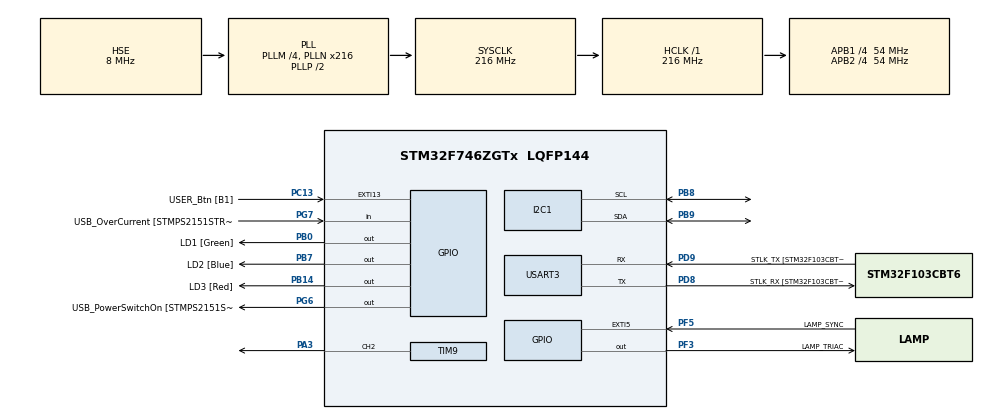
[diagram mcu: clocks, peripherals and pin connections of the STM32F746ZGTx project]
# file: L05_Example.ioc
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I2C1.Timing=0x20404768
Mcu.Family=STM32F7
Mcu.Name=STM32F746ZGTx
Mcu.Package=LQFP144
NVIC.EXTI9_5_IRQn=true\:0\:0\:false\:false\:true\:true\:true\:true
NVIC.PriorityGroup=NVIC_PRIORITYGROUP_4
NVIC.TIM1_TRG_COM_TIM11_IRQn=true\:0\:0\:false\:false\:true\:true\:true\:true
NVIC.TIM7_IRQn=true\:0\:0\:false\:false\:true\:true\:true\:true
PA1.GPIO_Label=RMII_REF_CLK [LAN8742A-CZ-TR_REFCLK0]
PA1.Signal=ETH_REF_CLK
PA10.GPIO_Label=USB_ID
PA10.Signal=USB_OTG_FS_ID
PA11.GPIO_Label=USB_DM
PA11.Signal=USB_OTG_FS_DM
PA12.GPIO_Label=USB_DP
PA12.Signal=USB_OTG_FS_DP
PA13.GPIO_Label=TMS
PA13.Mode=Serial_Wire
PA13.Signal=SYS_JTMS-SWDIO
PA14.GPIO_Label=TCK
PA14.Mode=Serial_Wire
PA14.Signal=SYS_JTCK-SWCLK
PA2.GPIO_Label=RMII_MDIO [LAN8742A-CZ-TR_MDIO]
PA2.Signal=ETH_MDIO
PA3.GPIO_PuPd=GPIO_PULLDOWN
PA3.Signal=S_TIM9_CH2
PA7.GPIO_Label=RMII_CRS_DV [LAN8742A-CZ-TR_CRS_DV]
PA7.Signal=ETH_CRS_DV
PA8.GPIO_Label=USB_SOF [TP1]
PA8.Signal=USB_OTG_FS_SOF
PA9.GPIO_Label=USB_VBUS
PA9.Signal=USB_OTG_FS_VBUS
PB0.GPIO_Label=LD1 [Green]
PB0.Signal=GPIO_Output
PB13.GPIO_Label=RMII_TXD1 [LAN8742A-CZ-TR_TXD1]
PB13.Signal=ETH_TXD1
PB14.GPIO_Label=LD3 [Red]
PB14.Signal=GPIO_Output
PB3.GPIO_Label=SW0
PB3.Signal=SYS_JTDO-SWO
PB7.GPIO_Label=LD2 [Blue]
PB7.Signal=GPIO_Output
PB8.Mode=I2C
PB8.Signal=I2C1_SCL
PB9.Mode=I2C
PB9.Signal=I2C1_SDA
PC1.GPIO_Label=RMII_MDC [LAN8742A-CZ-TR_MDC]
PC1.Signal=ETH_MDC
PC13.GPIO_Label=USER_Btn [B1]
PC13.Signal=GPXTI13
PC14/OSC32_IN.Mode=LSE-External-Oscillator
PC14/OSC32_IN.Signal=RCC_OSC32_IN
PC15/OSC32_OUT.Mode=LSE-External-Oscillator
PC15/OSC32_OUT.Signal=RCC_OSC32_OUT
PC4.GPIO_Label=RMII_RXD0 [LAN8742A-CZ-TR_RXD0]
PC4.Signal=ETH_RXD0
PC5.GPIO_Label=RMII_RXD1 [LAN8742A-CZ-TR_RXD1]
PC5.Signal=ETH_RXD1
PD8.GPIO_Label=STLK_RX [STM32F103CBT6_PA3]
PD8.GPIO_PuPd=GPIO_PULLUP
PD8.Mode=Asynchronous
PD8.Signal=USART3_TX
PD9.GPIO_Label=STLK_TX [STM32F103CBT6_PA2]
PD9.GPIO_PuPd=GPIO_PULLUP
PD9.Mode=Asynchronous
PD9.Signal=USART3_RX
PF3.GPIO_Label=LAMP_TRIAC
PF3.Signal=GPIO_Output
PF5.GPIO_Label=LAMP_SYNC
PF5.Signal=GPXTI5
PG11.GPIO_Label=RMII_TX_EN [LAN8742A-CZ-TR_TXEN]
PG11.Signal=ETH_TX_EN
PG13.GPIO_Label=RMII_TXD0 [LAN8742A-CZ-TR_TXD0]
PG13.Signal=ETH_TXD0
PG6.GPIO_Label=USB_PowerSwitchOn [STMPS2151STR_EN]
PG6.Signal=GPIO_Output
PG7.GPIO_Label=USB_OverCurrent [STMPS2151STR_FAULT]
PG7.Signal=GPIO_Input
PH0/OSC_IN.GPIO_Label=MCO [STM32F103CBT6_PA8]
PH0/OSC_IN.Mode=HSE-External-Clock-Source
PH0/OSC_IN.Signal=RCC_OSC_IN
PH1/OSC_OUT.Mode=HSE-External-Clock-Source
PH1/OSC_OUT.Signal=RCC_OSC_OUT
ProjectManager.HeapSize=0x200
ProjectManager.StackSize=0x400
ProjectManager.TargetToolchain=STM32CubeIDE
RCC.48MHZClocksFreq_Value=24000000
RCC.AHBFreq_Value=216000000
RCC.APB1CLKDivider=RCC_HCLK_DIV4
RCC.APB1Freq_Value=54000000
RCC.APB1TimFreq_Value=108000000
RCC.APB2CLKDivider=RCC_HCLK_DIV4
RCC.APB2Freq_Value=54000000
RCC.APB2TimFreq_Value=108000000
RCC.CortexFreq_Value=216000000
RCC.HCLKFreq_Value=216000000
RCC.HSE_VALUE=8000000
RCC.HSI_VALUE=16000000
RCC.PLLM=4
RCC.PLLMUL=RCC_PLL_MUL9
RCC.PLLN=216
RCC.PLLQ=3
RCC.PLLSourceVirtual=RCC_PLLSOURCE_HSE
RCC.PRESCALERUSB=RCC_USBCLKSOURCE_PLL_DIV1_5
RCC.SYSCLKFreq_VALUE=216000000
RCC.SYSCLKSource=RCC_SYSCLKSOURCE_PLLCLK
RCC.SYSCLKSourceVirtual=RCC_SYSCLKSOURCE_PLLCLK
RCC.USBFreq_Value=144000000
RCC.VCOOutputFreq_Value=432000000
SH.S_TIM9_CH2.0=TIM9_CH2,PWM Generation2 CH2
TIM11.Period=100-1
TIM11.Prescaler=108-1
TIM7.Period=5000-1
TIM7.Prescaler=108-1
TIM9.Channel-PWM\ Generation2\ CH2=TIM_CHANNEL_2
TIM9.Period=1000-1
TIM9.Prescaler=108-1
USART3.VirtualMode-Asynchronous=VM_ASYNC
VP_TIM11_VS_ClockSourceINT.Mode=Enable_Timer
VP_TIM7_VS_ClockSourceINT.Mode=Enable_Timer
VP_TIM9_VS_ClockSourceINT.Mode=Internal
board=NUCLEO-F746ZG

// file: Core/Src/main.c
/* USER CODE BEGIN Header */
/**
  ******************************************************************************
  * @file           : main.c
  * @brief          : Main program body
  ******************************************************************************
  * @attention
  *
  * Copyright (c) 2024 STMicroelectronics.
  * All rights reserved.
  *
  * This software is licensed under terms that can be found in the LICENSE file
  * in the root directory of this software component.
  * If no LICENSE file comes with this software, it is provided AS-IS.
  *
  ******************************************************************************
  */
#define TASK 5
/* USER CODE END Header */
#include "main.h"
#include "i2c.h"
#include "tim.h"
#include "usart.h"
#include "gpio.h"

/* USER CODE BEGIN Includes */
#if TASK == 3
#include "bh1750_config.h"
#endif
#if TASK == 4
#include <stdio.h>
#include "bh1750_config.h"
#endif
#if TASK == 5
#include <stdio.h>
#include "led_config.h"
#include "bh1750_config.h"
#endif
#if TASK == 7
#include <stdio.h>
#include "lamp_config.h"
#include "bh1750_config.h"
#endif
/* USER CODE END Includes */

/* USER CODE BEGIN PV */
#if TASK == 3
int illuminance_mlx = 0;
#endif
#if TASK == 4
int illuminance_mlx = 0;
#endif
#if TASK == 5
int duty_cycle;
int illuminance_mlx = 0;
#endif
#if TASK == 7
int input_value;
int illuminance_mlx = 0;
#endif
/* USER CODE END PV */

void SystemClock_Config(void);

/* USER CODE BEGIN 0 */
#if TASK == 4
int _write(int file, char *ptr, int len)
{
  return (HAL_UART_Transmit(&huart3, (uint8_t*)ptr, len, HAL_MAX_DELAY) == HAL_OK) ? len : -1;
}
#endif
#if TASK == 5
int _write(int file, char *ptr, int len)
{
  return (HAL_UART_Transmit(&huart3, (uint8_t*)ptr, len, HAL_MAX_DELAY) == HAL_OK) ? len : -1;
}

int _read(int file, char *ptr, int len)
{
  int msg_len = 0;
  while(msg_len <= len)
  {
    if(HAL_UART_Receive(&huart3, (uint8_t*)&ptr[msg_len], 1, HAL_MAX_DELAY) == HAL_OK)
    {
      msg_len++;
      if(ptr[msg_len-1] == '\r')
        break;
    }
  }
  return msg_len;
}
#endif
#if TASK == 7
int _write(int file, char *ptr, int len)
{
  return (HAL_UART_Transmit(&huart3, (uint8_t*)ptr, len, HAL_MAX_DELAY) == HAL_OK) ? len : -1;
}

int _read(int file, char *ptr, int len)
{
  int msg_len = 0;
  while(msg_len <= len)
  {
    if(HAL_UART_Receive(&huart3, (uint8_t*)&ptr[msg_len], 1, HAL_MAX_DELAY) == HAL_OK)
    {
      msg_len++;
      if(ptr[msg_len-1] == '\r')
        break;
    }
  }
  return msg_len;
}

/**
  * @brief  EXTI line detection callbacks.
  * @param  GPIO_Pin Specifies the pins connected EXTI line
  * @retval None
  */
void HAL_GPIO_EXTI_Callback(uint16_t GPIO_Pin)
{
  if(GPIO_Pin == hlamp1.SYNC_Pin)
  {
    LAMP_StartFiringAngleTimer(&hlamp1);
  }
}
/**
  * @brief  Period elapsed callback in non-blocking mode
  * @param  htim TIM handle
  * @retval None
  */
void HAL_TIM_PeriodElapsedCallback(TIM_HandleTypeDef *htim)
{
  if(htim == hlamp1.FiringAngleTimer)
  {
    LAMP_StopFiringAngleTimer(&hlamp1);
    LAMP_StartPulseTimer(&hlamp1);
  }
  if(htim == hlamp1.PulseTimer)
  {
    LAMP_StopPulseTimer(&hlamp1);
  }
}
#endif
/* USER CODE END 0 */

int main(void)
{

  /* MCU Configuration--------------------------------------------------------*/

  /* Reset of all peripherals, Initializes the Flash interface and the Systick. */
  HAL_Init();

  /* Configure the system clock */
  SystemClock_Config();

  /* Initialize all configured peripherals */
  MX_GPIO_Init();
  MX_USART3_UART_Init();
  MX_I2C1_Init();
  MX_TIM9_Init();
  MX_TIM7_Init();
  MX_TIM11_Init();
  /* USER CODE BEGIN 2 */
  #if TASK == 3
	BH1750_Init(&hbh1750A);
	#endif
  #if TASK == 4
  BH1750_Init(&hbh1750A);
  #endif
  #if TASK == 5
  LED_PWM_Init(&hld1);
  BH1750_Init(&hbh1750A);
  #endif
  #if TASK == 7
  BH1750_Init(&hbh1750B);
  #endif
  /* USER CODE END 2 */

  /* Infinite loop */
  /* USER CODE BEGIN WHILE */
  while (1)
  {
    #if TASK == 3
    illuminance_mlx = 1000*BH1750_ReadIlluminance_lux(&hbh1750A);
    HAL_Delay(200);
    #endif
    #if TASK == 4
    illuminance_mlx = 1000*BH1750_ReadIlluminance_lux(&hbh1750A);
    printf("{\"id\":1,\"value\":%d.%03d}\r\n", illuminance_mlx / 1000, illuminance_mlx % 1000);
    HAL_Delay(200);
    #endif
    #if TASK == 5
    char Command;
    scanf("%c%d", &Command, &duty_cycle);
    if(Command == 'R' || Command == 'r')      // Read
    {
      illuminance_mlx = 1000*BH1750_ReadIlluminance_lux(&hbh1750A);
      printf("{\"id\":1,\"value\":%d.%03d}\r\n", illuminance_mlx / 1000, illuminance_mlx % 1000);
    }
    else if(Command == 'W' || Command == 'w') // Write
    {
      LED_PWM_WriteDuty(&hld1, duty_cycle);
    }
    #endif
    #if TASK == 7
    char Command;
    scanf("%c%d", &Command, &input_value);
    if(Command == 'R' || Command == 'r')      // Read
    {
      illuminance_mlx = 1000*BH1750_ReadIlluminance_lux(&hbh1750B);
      printf("{\"id\":2,\"value\":%d.%03d}\r\n", illuminance_mlx / 1000, illuminance_mlx % 1000);
    }
    else if(Command == 'W' || Command == 'w') // Write
    {
      LAMP_WriteFiringAngle(&hlamp1, input_value);
    }
    else if(Command == 'L' || Command == 'L') // Linearize
    {
      LAMP_WriteBrightness(&hlamp1, input_value);
    }
    #endif
    /* USER CODE END WHILE */

  }
}

void SystemClock_Config(void)
{
  RCC_OscInitTypeDef RCC_OscInitStruct = {0};
  RCC_ClkInitTypeDef RCC_ClkInitStruct = {0};

  /** Configure LSE Drive Capability
  */
  HAL_PWR_EnableBkUpAccess();

  /** Configure the main internal regulator output voltage
  */
  __HAL_RCC_PWR_CLK_ENABLE();
  __HAL_PWR_VOLTAGESCALING_CONFIG(PWR_REGULATOR_VOLTAGE_SCALE1);

  /** Initializes the RCC Oscillators according to the specified parameters
  * in the RCC_OscInitTypeDef structure.
  */
  RCC_OscInitStruct.OscillatorType = RCC_OSCILLATORTYPE_HSE;
  RCC_OscInitStruct.HSEState = RCC_HSE_BYPASS;
  RCC_OscInitStruct.PLL.PLLState = RCC_PLL_ON;
  RCC_OscInitStruct.PLL.PLLSource = RCC_PLLSOURCE_HSE;
  RCC_OscInitStruct.PLL.PLLM = 4;
  RCC_OscInitStruct.PLL.PLLN = 216;
  RCC_OscInitStruct.PLL.PLLP = RCC_PLLP_DIV2;
  RCC_OscInitStruct.PLL.PLLQ = 3;
  if (HAL_RCC_OscConfig(&RCC_OscInitStruct) != HAL_OK)
  {
    Error_Handler();
  }

  /** Activate the Over-Drive mode
  */
  if (HAL_PWREx_EnableOverDrive() != HAL_OK)
  {
    Error_Handler();
  }

  /** Initializes the CPU, AHB and APB buses clocks
  */
  RCC_ClkInitStruct.ClockType = RCC_CLOCKTYPE_HCLK|RCC_CLOCKTYPE_SYSCLK
                              |RCC_CLOCKTYPE_PCLK1|RCC_CLOCKTYPE_PCLK2;
  RCC_ClkInitStruct.SYSCLKSource = RCC_SYSCLKSOURCE_PLLCLK;
  RCC_ClkInitStruct.AHBCLKDivider = RCC_SYSCLK_DIV1;
  RCC_ClkInitStruct.APB1CLKDivider = RCC_HCLK_DIV4;
  RCC_ClkInitStruct.APB2CLKDivider = RCC_HCLK_DIV4;

  if (HAL_RCC_ClockConfig(&RCC_ClkInitStruct, FLASH_LATENCY_7) != HAL_OK)
  {
    Error_Handler();
  }
}

void Error_Handler(void)
{
  __disable_irq();
  while (1)
  {
  }
}
